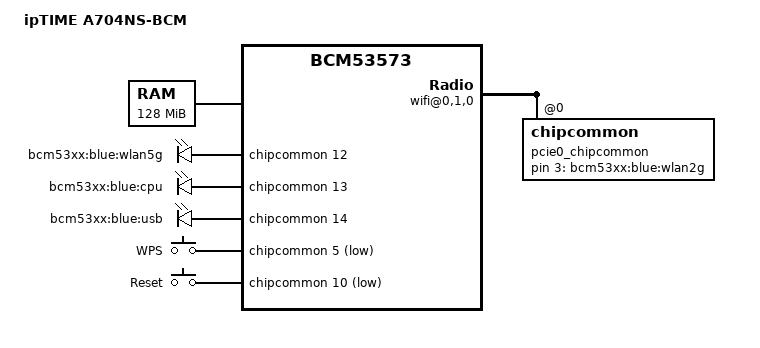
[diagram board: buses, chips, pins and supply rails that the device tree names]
// SPDX-License-Identifier: GPL-2.0-or-later OR MIT

/dts-v1/;

#include "bcm53573.dtsi"

/ {
	compatible = "iptime,a704ns-bcm", "brcm,bcm53573";
	model = "ipTIME A704NS-BCM";

	chosen {
		bootargs = "console=ttyS0,115200 earlycon";
	};

	memory@0 {
		device_type = "memory";
		reg = <0x00000000 0x08000000>;
	};

	leds {
		compatible = "gpio-leds";

		wlan2g {
			label = "bcm53xx:blue:wlan2g";
			// gpios = <&chipcommon 11 GPIO_ACTIVE_HIGH>;
			gpios = <&pcie0_chipcommon 3 GPIO_ACTIVE_HIGH>;
		};

		wlan5g {
			label = "bcm53xx:blue:wlan5g";
			gpios = <&chipcommon 12 GPIO_ACTIVE_HIGH>;
		};

		cpu {
			label = "bcm53xx:blue:cpu";
			gpios = <&chipcommon 13 GPIO_ACTIVE_HIGH>;
		};

		usb {
			label = "bcm53xx:blue:usb";
			gpios = <&chipcommon 14 GPIO_ACTIVE_HIGH>;
			trigger-sources = <&ohci_port1>, <&ehci_port1>;
			linux,default-trigger = "usbport";
		};
	};

	gpio-keys {
		compatible = "gpio-keys";

		wps {
			label = "WPS";
			linux,code = <KEY_WPS_BUTTON>;
			gpios = <&chipcommon 5 GPIO_ACTIVE_LOW>;
		};

		reset {
			label = "Reset";
			linux,code = <KEY_RESTART>;
			gpios = <&chipcommon 10 GPIO_ACTIVE_LOW>;
		};
	};
};

&pcie0 {
	ranges = <0x00000000 0 0 0 0 0x00100000>;
	#address-cells = <3>;
	#size-cells = <2>;

	bridge@0,0,0 {
		reg = <0x0000 0 0 0 0>;
		ranges = <0x00000000 0 0 0 0 0 0 0x00100000>;
		#address-cells = <3>;
		#size-cells = <2>;

		wifi@0,1,0 {
			reg = <0x0000 0 0 0 0>;
			ranges = <0x00000000 0 0 0 0x00100000>;
			#address-cells = <1>;
			#size-cells = <1>;

			pcie0_chipcommon: chipcommon@0 {
				reg = <0 0x1000>;

				gpio-controller;
				#gpio-cells = <2>;
			};
		};
	};
};
